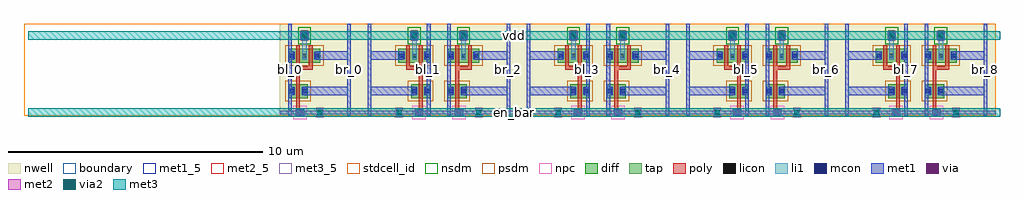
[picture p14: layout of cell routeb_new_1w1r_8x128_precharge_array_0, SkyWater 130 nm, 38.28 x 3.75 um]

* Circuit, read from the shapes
.subckt routeb_new_1w1r_8x128_precharge_array_0 bl_0 bl_1 bl_2 bl_3 bl_4 bl_5 bl_6 bl_7 bl_8 br_0 br_1 br_2 br_3 br_4 br_5 br_6 br_7 br_8 en_bar vdd
XM1 br_0 en_bar bl_0 vdd sky130_fd_pr__pfet_01v8 w=0.55 l=0.15
XM2 vdd en_bar bl_0 vdd sky130_fd_pr__pfet_01v8 w=0.55 l=0.15
XM3 br_0 en_bar vdd vdd sky130_fd_pr__pfet_01v8 w=0.55 l=0.15
XM4 vdd en_bar br_1 vdd sky130_fd_pr__pfet_01v8 w=0.55 l=0.15
XM5 bl_1 en_bar br_1 vdd sky130_fd_pr__pfet_01v8 w=0.55 l=0.15
XM6 bl_1 en_bar vdd vdd sky130_fd_pr__pfet_01v8 w=0.55 l=0.15
XM7 br_2 en_bar bl_2 vdd sky130_fd_pr__pfet_01v8 w=0.55 l=0.15
XM8 vdd en_bar bl_2 vdd sky130_fd_pr__pfet_01v8 w=0.55 l=0.15
XM9 br_2 en_bar vdd vdd sky130_fd_pr__pfet_01v8 w=0.55 l=0.15
XM10 vdd en_bar br_3 vdd sky130_fd_pr__pfet_01v8 w=0.55 l=0.15
XM11 bl_3 en_bar br_3 vdd sky130_fd_pr__pfet_01v8 w=0.55 l=0.15
XM12 bl_3 en_bar vdd vdd sky130_fd_pr__pfet_01v8 w=0.55 l=0.15
XM13 br_4 en_bar bl_4 vdd sky130_fd_pr__pfet_01v8 w=0.55 l=0.15
XM14 vdd en_bar bl_4 vdd sky130_fd_pr__pfet_01v8 w=0.55 l=0.15
XM15 br_4 en_bar vdd vdd sky130_fd_pr__pfet_01v8 w=0.55 l=0.15
XM16 vdd en_bar br_5 vdd sky130_fd_pr__pfet_01v8 w=0.55 l=0.15
XM17 bl_5 en_bar br_5 vdd sky130_fd_pr__pfet_01v8 w=0.55 l=0.15
XM18 bl_5 en_bar vdd vdd sky130_fd_pr__pfet_01v8 w=0.55 l=0.15
XM19 br_6 en_bar bl_6 vdd sky130_fd_pr__pfet_01v8 w=0.55 l=0.15
XM20 vdd en_bar bl_6 vdd sky130_fd_pr__pfet_01v8 w=0.55 l=0.15
XM21 br_6 en_bar vdd vdd sky130_fd_pr__pfet_01v8 w=0.55 l=0.15
XM22 vdd en_bar br_7 vdd sky130_fd_pr__pfet_01v8 w=0.55 l=0.15
XM23 bl_7 en_bar br_7 vdd sky130_fd_pr__pfet_01v8 w=0.55 l=0.15
XM24 bl_7 en_bar vdd vdd sky130_fd_pr__pfet_01v8 w=0.55 l=0.15
XM25 br_8 en_bar bl_8 vdd sky130_fd_pr__pfet_01v8 w=0.55 l=0.15
XM26 vdd en_bar bl_8 vdd sky130_fd_pr__pfet_01v8 w=0.55 l=0.15
XM27 br_8 en_bar vdd vdd sky130_fd_pr__pfet_01v8 w=0.55 l=0.15
.ends

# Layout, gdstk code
from math import pi, radians
import gdstk
lib = gdstk.Library(unit=1e-6, precision=1e-09)
def R(c, l, rs):  # rectangles x0, y0, x1, y1
    for r in rs: c.add(gdstk.rectangle(r[:2], r[2:], *l))
def A(c, l, x, y, w, h, nx, ny, dx, dy):  # array of equal rectangles
    R(c, l, [(x+i*dx, y+j*dy, x+i*dx+w, y+j*dy+h) for i in range(nx) for j in range(ny)])
nwell = (64, 20)
diff = (65, 20)
tap = (65, 44)
poly = (66, 20)
licon = (66, 44)
li1 = (67, 20)
mcon = (67, 44)
met1_5 = (68, 5)
met1 = (68, 20)
via = (68, 44)
met2_5 = (69, 5)
met2 = (69, 20)
via2 = (69, 44)
met3_5 = (70, 5)
met3 = (70, 20)
stdcell_id = (81, 4)
nsdm = (93, 44)
psdm = (94, 20)
npc = (95, 20)
boundary = (235, 4)

routeb_new_1w1r_8x128_co = lib.new_cell('routeb_new_1w1r_8x128_contact_11')
R(routeb_new_1w1r_8x128_co, nwell, [(-0.295,-0.255,0.545,0.585)])
R(routeb_new_1w1r_8x128_co, diff, [(0,0.02,0.25,0.31)])
R(routeb_new_1w1r_8x128_co, licon, [(0.04,0.08,0.21,0.25)])
R(routeb_new_1w1r_8x128_co, li1, [(0.04,0,0.21,0.33)])
R(routeb_new_1w1r_8x128_co, stdcell_id, [(-0.295,-0.255,0.545,0.585)])
R(routeb_new_1w1r_8x128_co, psdm, [(-0.125,-0.105,0.375,0.435)])
R(routeb_new_1w1r_8x128_co, boundary, [(-0.295,-0.255,0.545,0.585)])

routeb_new_1w1r_8x128_pm = lib.new_cell('routeb_new_1w1r_8x128_pmos_m1_w0_550_sli_dli')
R(routeb_new_1w1r_8x128_pm, nwell, [(-0.27,-0.27,1.02,0.82)])
R(routeb_new_1w1r_8x128_pm, diff, [(0,0,0.75,0.55)])
R(routeb_new_1w1r_8x128_pm, poly, [(0.3,-0.13,0.45,0.68), (0.3,-0.13,0.45,0.68)])
R(routeb_new_1w1r_8x128_pm, li1, [(0.04,0.11,0.21,0.44), (0.54,0.11,0.71,0.44)])
R(routeb_new_1w1r_8x128_pm, stdcell_id, [(-0.27,-0.27,1.02,0.82)])
R(routeb_new_1w1r_8x128_pm, psdm, [(-0.125,-0.125,0.875,0.675)])
R(routeb_new_1w1r_8x128_pm, boundary, [(-0.27,-0.27,1.02,0.82)])
routeb_new_1w1r_8x128_pm.add(gdstk.Reference(routeb_new_1w1r_8x128_co, (0,0.11)))
routeb_new_1w1r_8x128_pm.add(gdstk.Reference(routeb_new_1w1r_8x128_co, (0.5,0.11)))
routeb_new_1w1r_8x128_pm.add(gdstk.Label('G', (0.375,0.275), layer=66, texttype=5))
routeb_new_1w1r_8x128_pm.add(gdstk.Label('S', (0.125,0.275), layer=67, texttype=5))
routeb_new_1w1r_8x128_pm.add(gdstk.Label('D', (0.625,0.275), layer=67, texttype=5))

c_routeb_new_1w1r_8x128_co = lib.new_cell('routeb_new_1w1r_8x128_contact_15')
R(c_routeb_new_1w1r_8x128_co, poly, [(0,0,0.33,0.33)])
R(c_routeb_new_1w1r_8x128_co, licon, [(0.08,0.08,0.25,0.25)])
R(c_routeb_new_1w1r_8x128_co, li1, [(0.08,0,0.25,0.33)])
R(c_routeb_new_1w1r_8x128_co, stdcell_id, [(-0.1,-0.1,0.43,0.43)])
R(c_routeb_new_1w1r_8x128_co, npc, [(-0.1,-0.1,0.43,0.43)])
R(c_routeb_new_1w1r_8x128_co, boundary, [(-0.1,-0.1,0.43,0.43)])

c_routeb_new_1w1r_8x128_co_ = lib.new_cell('routeb_new_1w1r_8x128_contact_13')
R(c_routeb_new_1w1r_8x128_co_, li1, [(0.06,0,0.23,0.33)])
R(c_routeb_new_1w1r_8x128_co_, mcon, [(0.06,0.08,0.23,0.25)])
R(c_routeb_new_1w1r_8x128_co_, met1, [(0,0.05,0.29,0.28)])
R(c_routeb_new_1w1r_8x128_co_, stdcell_id, [(0,0,0.29,0.33)])
R(c_routeb_new_1w1r_8x128_co_, boundary, [(0,0,0.29,0.33)])

c_routeb_new_1w1r_8x128_co__ = lib.new_cell('routeb_new_1w1r_8x128_contact_18')
R(c_routeb_new_1w1r_8x128_co__, met1, [(0,0.03,0.32,0.29)])
R(c_routeb_new_1w1r_8x128_co__, via, [(0.085,0.085,0.235,0.235)])
R(c_routeb_new_1w1r_8x128_co__, met2, [(0.03,0,0.29,0.32)])
R(c_routeb_new_1w1r_8x128_co__, stdcell_id, [(0,0,0.32,0.32)])
R(c_routeb_new_1w1r_8x128_co__, boundary, [(0,0,0.32,0.32)])

c_routeb_new_1w1r_8x128_co___ = lib.new_cell('routeb_new_1w1r_8x128_contact_12')
R(c_routeb_new_1w1r_8x128_co___, nwell, [(-0.295,-0.215,0.545,0.625)])
R(c_routeb_new_1w1r_8x128_co___, tap, [(0,0,0.25,0.41)])
R(c_routeb_new_1w1r_8x128_co___, licon, [(0.04,0.12,0.21,0.29)])
R(c_routeb_new_1w1r_8x128_co___, li1, [(0.04,0.04,0.21,0.37)])
R(c_routeb_new_1w1r_8x128_co___, stdcell_id, [(-0.295,-0.215,0.545,0.625)])
R(c_routeb_new_1w1r_8x128_co___, nsdm, [(-0.125,-0.125,0.375,0.535)])
R(c_routeb_new_1w1r_8x128_co___, boundary, [(-0.295,-0.215,0.545,0.625)])

c_routeb_new_1w1r_8x128_co____ = lib.new_cell('routeb_new_1w1r_8x128_contact_23')
R(c_routeb_new_1w1r_8x128_co____, li1, [(0.03,0,0.2,0.33)])
R(c_routeb_new_1w1r_8x128_co____, mcon, [(0.03,0.08,0.2,0.25)])
R(c_routeb_new_1w1r_8x128_co____, met1, [(0,0.02,0.23,0.31)])
R(c_routeb_new_1w1r_8x128_co____, stdcell_id, [(0,0,0.23,0.33)])
R(c_routeb_new_1w1r_8x128_co____, boundary, [(0,0,0.23,0.33)])

routeb_new_1w1r_8x128_pr = lib.new_cell('routeb_new_1w1r_8x128_precharge_1')
R(routeb_new_1w1r_8x128_pr, nwell, [(0,0,3.12,3.61)])
R(routeb_new_1w1r_8x128_pr, poly, [(0.64,0.05,0.79,0.2), (0.715,0.05,0.79,0.2), (0.64,0.125,0.79,0.56), (0.64,1.37,0.79,1.95), (0.64,1.8,1.29,1.95)])
R(routeb_new_1w1r_8x128_pr, li1, [(0.88,2.355,1.05,3.14), (0.88,3.055,1.05,3.225)])
R(routeb_new_1w1r_8x128_pr, met1_5, [(0.33,0,0.47,3.61), (2.65,0,2.79,3.61)])
R(routeb_new_1w1r_8x128_pr, met1, [(0.63,-0.005,0.95,0.255), (0.33,0,0.47,3.61), (0.33,0,0.47,3.61), (2.65,0,2.79,3.61), (2.65,0,2.79,3.61), (0.4,0.8,0.465,1.13), (0.965,0.8,2.72,1.13), (0.4,2.19,0.465,2.52), (1.465,2.19,2.72,2.52)])
R(routeb_new_1w1r_8x128_pr, met2_5, [(0,0.055,3.12,0.195)])
R(routeb_new_1w1r_8x128_pr, met2, [(0,0.055,3.12,0.195)])
R(routeb_new_1w1r_8x128_pr, stdcell_id, [(0,0,3.12,3.61)])
R(routeb_new_1w1r_8x128_pr, boundary, [(0,0,3.12,3.61)])
routeb_new_1w1r_8x128_pr.add(gdstk.Reference(routeb_new_1w1r_8x128_pm, (0.34,0.69)))
routeb_new_1w1r_8x128_pr.add(gdstk.Reference(routeb_new_1w1r_8x128_pm, (0.34,2.08)))
routeb_new_1w1r_8x128_pr.add(gdstk.Reference(routeb_new_1w1r_8x128_pm, (0.84,2.08)))
routeb_new_1w1r_8x128_pr.add(gdstk.Reference(c_routeb_new_1w1r_8x128_co, (0.625,-0.04)))
routeb_new_1w1r_8x128_pr.add(gdstk.Reference(c_routeb_new_1w1r_8x128_co_, (0.645,-0.04)))
routeb_new_1w1r_8x128_pr.add(gdstk.Reference(c_routeb_new_1w1r_8x128_co__, (0.63,-0.035)))
routeb_new_1w1r_8x128_pr.add(gdstk.Reference(c_routeb_new_1w1r_8x128_co___, (0.84,2.935)))
routeb_new_1w1r_8x128_pr.add(gdstk.Reference(c_routeb_new_1w1r_8x128_co_, (0.82,2.975)))
routeb_new_1w1r_8x128_pr.add(gdstk.Reference(c_routeb_new_1w1r_8x128_co____, (0.35,0.8)))
routeb_new_1w1r_8x128_pr.add(gdstk.Reference(c_routeb_new_1w1r_8x128_co____, (0.85,0.8)))
routeb_new_1w1r_8x128_pr.add(gdstk.Reference(c_routeb_new_1w1r_8x128_co____, (0.35,2.19)))
routeb_new_1w1r_8x128_pr.add(gdstk.Reference(c_routeb_new_1w1r_8x128_co____, (1.35,2.19)))
routeb_new_1w1r_8x128_pr.add(gdstk.Label('en_bar', (1.56,0.125), layer=69, texttype=5))
routeb_new_1w1r_8x128_pr.add(gdstk.Label('vdd', (0.965,3.14), layer=67, texttype=5))
routeb_new_1w1r_8x128_pr.add(gdstk.Label('bl', (0.4,1.805), layer=68, texttype=5))
routeb_new_1w1r_8x128_pr.add(gdstk.Label('br', (2.72,1.805), layer=68, texttype=5))

c_routeb_new_1w1r_8x128_co_____ = lib.new_cell('routeb_new_1w1r_8x128_contact_21')
R(c_routeb_new_1w1r_8x128_co_____, met2, [(0.025,0,0.305,0.37)])
R(c_routeb_new_1w1r_8x128_co_____, via2, [(0.065,0.085,0.265,0.285)])
R(c_routeb_new_1w1r_8x128_co_____, met3, [(0,0.02,0.33,0.35)])
R(c_routeb_new_1w1r_8x128_co_____, stdcell_id, [(0,0,0.33,0.37)])
R(c_routeb_new_1w1r_8x128_co_____, boundary, [(0,0,0.33,0.37)])

c_routeb_new_1w1r_8x128_pr = lib.new_cell('routeb_new_1w1r_8x128_precharge_array_0')
R(c_routeb_new_1w1r_8x128_pr, met1_5, [(10.365,0,10.505,3.61), (12.685,0,12.825,3.61), (13.485,0,13.625,3.61), (15.805,0,15.945,3.61), (16.605,0,16.745,3.61), (18.925,0,19.065,3.61), (19.725,0,19.865,3.61), (22.045,0,22.185,3.61), (22.845,0,22.985,3.61), (25.165,0,25.305,3.61), (25.965,0,26.105,3.61), (28.285,0,28.425,3.61), (29.085,0,29.225,3.61), (31.405,0,31.545,3.61), (32.205,0,32.345,3.61), (34.525,0,34.665,3.61), (35.325,0,35.465,3.61), (37.645,0,37.785,3.61)])
R(c_routeb_new_1w1r_8x128_pr, met1, [(10.365,0,10.505,3.61), (12.685,0,12.825,3.61), (13.485,0,13.625,3.61), (15.805,0,15.945,3.61), (16.605,0,16.745,3.61), (18.925,0,19.065,3.61), (19.725,0,19.865,3.61), (22.045,0,22.185,3.61), (22.845,0,22.985,3.61), (25.165,0,25.305,3.61), (25.965,0,26.105,3.61), (28.285,0,28.425,3.61), (29.085,0,29.225,3.61), (31.405,0,31.545,3.61), (32.205,0,32.345,3.61), (34.525,0,34.665,3.61), (35.325,0,35.465,3.61), (37.645,0,37.785,3.61), (10.84,3.01,11.16,3.27), (15.15,3.01,15.47,3.27), (17.08,3.01,17.4,3.27), (21.39,3.01,21.71,3.27), (23.32,3.01,23.64,3.27), (27.63,3.01,27.95,3.27), (29.56,3.01,29.88,3.27), (33.87,3.01,34.19,3.27), (35.8,3.01,36.12,3.27)])
A(c_routeb_new_1w1r_8x128_pr, met2, 11.455, 0, 0.28, 0.245, 9, 1, 3.12, 0)
R(c_routeb_new_1w1r_8x128_pr, met2, [(10.86,3.02,11.14,3.265), (15.17,3.02,15.45,3.265), (17.1,3.02,17.38,3.265), (21.41,3.02,21.69,3.265), (23.34,3.02,23.62,3.265), (27.65,3.02,27.93,3.265), (29.58,3.02,29.86,3.265), (33.89,3.02,34.17,3.265), (35.82,3.02,36.1,3.265)])
R(c_routeb_new_1w1r_8x128_pr, met3_5, [(0.165,-0.04,38.28,0.29), (0.165,2.975,38.28,3.305)])
R(c_routeb_new_1w1r_8x128_pr, met3, [(0.165,-0.04,38.28,0.29), (0.165,2.975,38.28,3.305)])
R(c_routeb_new_1w1r_8x128_pr, stdcell_id, [(0,0,38.115,3.61)])
R(c_routeb_new_1w1r_8x128_pr, boundary, [(0,0,38.115,3.61)])
c_routeb_new_1w1r_8x128_pr.add(gdstk.Reference(routeb_new_1w1r_8x128_pr, (10.035,0)))
c_routeb_new_1w1r_8x128_pr.add(gdstk.Reference(routeb_new_1w1r_8x128_pr, (16.275,0), rotation=pi, x_reflection=True))
c_routeb_new_1w1r_8x128_pr.add(gdstk.Reference(routeb_new_1w1r_8x128_pr, (16.275,0)))
c_routeb_new_1w1r_8x128_pr.add(gdstk.Reference(routeb_new_1w1r_8x128_pr, (22.515,0), rotation=pi, x_reflection=True))
c_routeb_new_1w1r_8x128_pr.add(gdstk.Reference(routeb_new_1w1r_8x128_pr, (22.515,0)))
c_routeb_new_1w1r_8x128_pr.add(gdstk.Reference(routeb_new_1w1r_8x128_pr, (28.755,0), rotation=pi, x_reflection=True))
c_routeb_new_1w1r_8x128_pr.add(gdstk.Reference(routeb_new_1w1r_8x128_pr, (28.755,0)))
c_routeb_new_1w1r_8x128_pr.add(gdstk.Reference(routeb_new_1w1r_8x128_pr, (34.995,0), rotation=pi, x_reflection=True))
c_routeb_new_1w1r_8x128_pr.add(gdstk.Reference(routeb_new_1w1r_8x128_pr, (34.995,0)))
c_routeb_new_1w1r_8x128_pr.add(gdstk.Reference(c_routeb_new_1w1r_8x128_co_____, (11.43,-0.06)))
c_routeb_new_1w1r_8x128_pr.add(gdstk.Reference(c_routeb_new_1w1r_8x128_co_____, (14.55,-0.06)))
c_routeb_new_1w1r_8x128_pr.add(gdstk.Reference(c_routeb_new_1w1r_8x128_co_____, (17.67,-0.06)))
c_routeb_new_1w1r_8x128_pr.add(gdstk.Reference(c_routeb_new_1w1r_8x128_co_____, (20.79,-0.06)))
c_routeb_new_1w1r_8x128_pr.add(gdstk.Reference(c_routeb_new_1w1r_8x128_co_____, (23.91,-0.06)))
c_routeb_new_1w1r_8x128_pr.add(gdstk.Reference(c_routeb_new_1w1r_8x128_co_____, (27.03,-0.06)))
c_routeb_new_1w1r_8x128_pr.add(gdstk.Reference(c_routeb_new_1w1r_8x128_co_____, (30.15,-0.06)))
c_routeb_new_1w1r_8x128_pr.add(gdstk.Reference(c_routeb_new_1w1r_8x128_co_____, (33.27,-0.06)))
c_routeb_new_1w1r_8x128_pr.add(gdstk.Reference(c_routeb_new_1w1r_8x128_co_____, (36.39,-0.06)))
c_routeb_new_1w1r_8x128_pr.add(gdstk.Reference(c_routeb_new_1w1r_8x128_co_____, (11.43,-0.06)))
c_routeb_new_1w1r_8x128_pr.add(gdstk.Reference(c_routeb_new_1w1r_8x128_co_____, (14.55,-0.06)))
c_routeb_new_1w1r_8x128_pr.add(gdstk.Reference(c_routeb_new_1w1r_8x128_co_____, (17.67,-0.06)))
c_routeb_new_1w1r_8x128_pr.add(gdstk.Reference(c_routeb_new_1w1r_8x128_co_____, (20.79,-0.06)))
c_routeb_new_1w1r_8x128_pr.add(gdstk.Reference(c_routeb_new_1w1r_8x128_co_____, (23.91,-0.06)))
c_routeb_new_1w1r_8x128_pr.add(gdstk.Reference(c_routeb_new_1w1r_8x128_co_____, (27.03,-0.06)))
c_routeb_new_1w1r_8x128_pr.add(gdstk.Reference(c_routeb_new_1w1r_8x128_co_____, (30.15,-0.06)))
c_routeb_new_1w1r_8x128_pr.add(gdstk.Reference(c_routeb_new_1w1r_8x128_co_____, (33.27,-0.06)))
c_routeb_new_1w1r_8x128_pr.add(gdstk.Reference(c_routeb_new_1w1r_8x128_co_____, (36.39,-0.06)))
c_routeb_new_1w1r_8x128_pr.add(gdstk.Reference(c_routeb_new_1w1r_8x128_co_, (10.855,2.975)))
c_routeb_new_1w1r_8x128_pr.add(gdstk.Reference(c_routeb_new_1w1r_8x128_co__, (10.84,2.98)))
c_routeb_new_1w1r_8x128_pr.add(gdstk.Reference(c_routeb_new_1w1r_8x128_co_____, (10.835,2.955)))
c_routeb_new_1w1r_8x128_pr.add(gdstk.Reference(c_routeb_new_1w1r_8x128_co_, (15.165,2.975)))
c_routeb_new_1w1r_8x128_pr.add(gdstk.Reference(c_routeb_new_1w1r_8x128_co__, (15.15,2.98)))
c_routeb_new_1w1r_8x128_pr.add(gdstk.Reference(c_routeb_new_1w1r_8x128_co_____, (15.145,2.955)))
c_routeb_new_1w1r_8x128_pr.add(gdstk.Reference(c_routeb_new_1w1r_8x128_co_, (17.095,2.975)))
c_routeb_new_1w1r_8x128_pr.add(gdstk.Reference(c_routeb_new_1w1r_8x128_co__, (17.08,2.98)))
c_routeb_new_1w1r_8x128_pr.add(gdstk.Reference(c_routeb_new_1w1r_8x128_co_____, (17.075,2.955)))
c_routeb_new_1w1r_8x128_pr.add(gdstk.Reference(c_routeb_new_1w1r_8x128_co_, (21.405,2.975)))
c_routeb_new_1w1r_8x128_pr.add(gdstk.Reference(c_routeb_new_1w1r_8x128_co__, (21.39,2.98)))
c_routeb_new_1w1r_8x128_pr.add(gdstk.Reference(c_routeb_new_1w1r_8x128_co_____, (21.385,2.955)))
c_routeb_new_1w1r_8x128_pr.add(gdstk.Reference(c_routeb_new_1w1r_8x128_co_, (23.335,2.975)))
c_routeb_new_1w1r_8x128_pr.add(gdstk.Reference(c_routeb_new_1w1r_8x128_co__, (23.32,2.98)))
c_routeb_new_1w1r_8x128_pr.add(gdstk.Reference(c_routeb_new_1w1r_8x128_co_____, (23.315,2.955)))
c_routeb_new_1w1r_8x128_pr.add(gdstk.Reference(c_routeb_new_1w1r_8x128_co_, (27.645,2.975)))
c_routeb_new_1w1r_8x128_pr.add(gdstk.Reference(c_routeb_new_1w1r_8x128_co__, (27.63,2.98)))
c_routeb_new_1w1r_8x128_pr.add(gdstk.Reference(c_routeb_new_1w1r_8x128_co_____, (27.625,2.955)))
c_routeb_new_1w1r_8x128_pr.add(gdstk.Reference(c_routeb_new_1w1r_8x128_co_, (29.575,2.975)))
c_routeb_new_1w1r_8x128_pr.add(gdstk.Reference(c_routeb_new_1w1r_8x128_co__, (29.56,2.98)))
c_routeb_new_1w1r_8x128_pr.add(gdstk.Reference(c_routeb_new_1w1r_8x128_co_____, (29.555,2.955)))
c_routeb_new_1w1r_8x128_pr.add(gdstk.Reference(c_routeb_new_1w1r_8x128_co_, (33.885,2.975)))
c_routeb_new_1w1r_8x128_pr.add(gdstk.Reference(c_routeb_new_1w1r_8x128_co__, (33.87,2.98)))
c_routeb_new_1w1r_8x128_pr.add(gdstk.Reference(c_routeb_new_1w1r_8x128_co_____, (33.865,2.955)))
c_routeb_new_1w1r_8x128_pr.add(gdstk.Reference(c_routeb_new_1w1r_8x128_co_, (35.815,2.975)))
c_routeb_new_1w1r_8x128_pr.add(gdstk.Reference(c_routeb_new_1w1r_8x128_co__, (35.8,2.98)))
c_routeb_new_1w1r_8x128_pr.add(gdstk.Reference(c_routeb_new_1w1r_8x128_co_____, (35.795,2.955)))
c_routeb_new_1w1r_8x128_pr.add(gdstk.Label('en_bar', (19.222,0.125), layer=70, texttype=5))
c_routeb_new_1w1r_8x128_pr.add(gdstk.Label('bl_0', (10.435,1.805), layer=68, texttype=5))
c_routeb_new_1w1r_8x128_pr.add(gdstk.Label('br_0', (12.755,1.805), layer=68, texttype=5))
c_routeb_new_1w1r_8x128_pr.add(gdstk.Label('bl_1', (15.875,1.805), layer=68, texttype=5))
c_routeb_new_1w1r_8x128_pr.add(gdstk.Label('br_1', (13.555,1.805), layer=68, texttype=5))
c_routeb_new_1w1r_8x128_pr.add(gdstk.Label('bl_2', (16.675,1.805), layer=68, texttype=5))
c_routeb_new_1w1r_8x128_pr.add(gdstk.Label('br_2', (18.995,1.805), layer=68, texttype=5))
c_routeb_new_1w1r_8x128_pr.add(gdstk.Label('bl_3', (22.115,1.805), layer=68, texttype=5))
c_routeb_new_1w1r_8x128_pr.add(gdstk.Label('br_3', (19.795,1.805), layer=68, texttype=5))
c_routeb_new_1w1r_8x128_pr.add(gdstk.Label('bl_4', (22.915,1.805), layer=68, texttype=5))
c_routeb_new_1w1r_8x128_pr.add(gdstk.Label('br_4', (25.235,1.805), layer=68, texttype=5))
c_routeb_new_1w1r_8x128_pr.add(gdstk.Label('bl_5', (28.355,1.805), layer=68, texttype=5))
c_routeb_new_1w1r_8x128_pr.add(gdstk.Label('br_5', (26.035,1.805), layer=68, texttype=5))
c_routeb_new_1w1r_8x128_pr.add(gdstk.Label('bl_6', (29.155,1.805), layer=68, texttype=5))
c_routeb_new_1w1r_8x128_pr.add(gdstk.Label('br_6', (31.475,1.805), layer=68, texttype=5))
c_routeb_new_1w1r_8x128_pr.add(gdstk.Label('bl_7', (34.595,1.805), layer=68, texttype=5))
c_routeb_new_1w1r_8x128_pr.add(gdstk.Label('br_7', (32.275,1.805), layer=68, texttype=5))
c_routeb_new_1w1r_8x128_pr.add(gdstk.Label('bl_8', (35.395,1.805), layer=68, texttype=5))
c_routeb_new_1w1r_8x128_pr.add(gdstk.Label('br_8', (37.715,1.805), layer=68, texttype=5))
c_routeb_new_1w1r_8x128_pr.add(gdstk.Label('vdd', (19.222,3.14), layer=70, texttype=5))

lib.write_gds('routeb_new_1w1r_8x128_precharge_array_0.gds')
